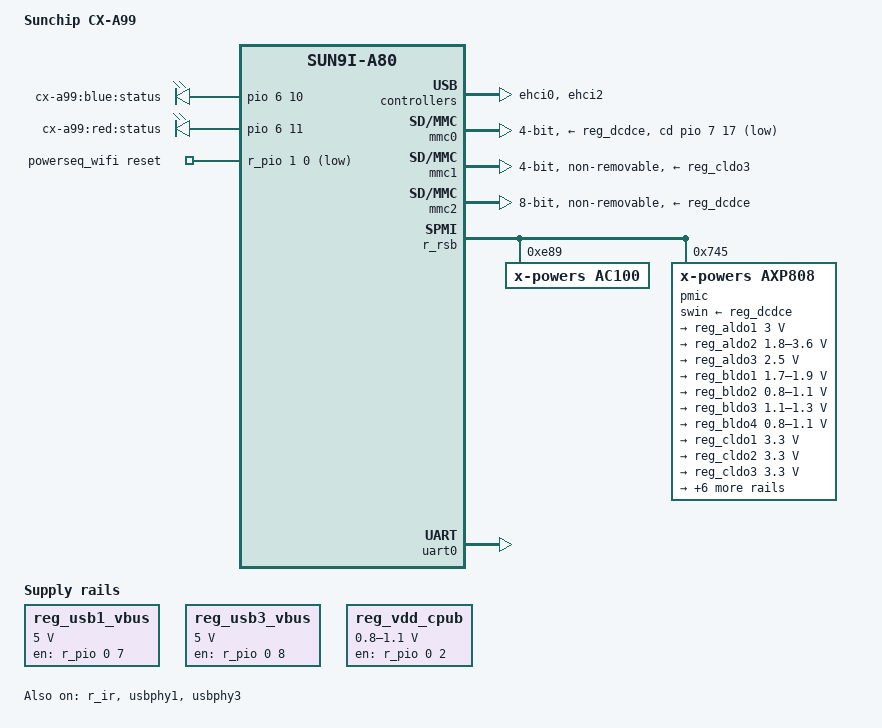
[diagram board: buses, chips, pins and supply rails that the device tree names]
/*
 * sun9i-a80-cx-a99.dts - Device Tree file for the Sunchip CX-A99 board.
 *
 * Copyright (C) 2017 Rask Ingemann Lambertsen <rask@formelder.dk>
 *
 * This file is dual-licensed: you can use it either under the terms
 * of the GPL or the X11 license, at your option. Note that this dual
 * licensing only applies to this file, and not this project as a
 * whole.
 *
 *  a) This file is free software; you can redistribute it and/or
 *     modify it under the terms of the GNU General Public License as
 *     published by the Free Software Foundation; either version 2 of the
 *     License, or (at your option) any later version.
 *
 *     This file is distributed in the hope that it will be useful,
 *     but WITHOUT ANY WARRANTY; without even the implied warranty of
 *     MERCHANTABILITY or FITNESS FOR A PARTICULAR PURPOSE.  See the
 *     GNU General Public License for more details.
 *
 * Or, alternatively,
 *
 *  b) Permission is hereby granted, free of charge, to any person
 *     obtaining a copy of this software and associated documentation
 *     files (the "Software"), to deal in the Software without
 *     restriction, including without limitation the rights to use,
 *     copy, modify, merge, publish, distribute, sublicense, and/or
 *     sell copies of the Software, and to permit persons to whom the
 *     Software is furnished to do so, subject to the following
 *     conditions:
 *
 *     The above copyright notice and this permission notice shall be
 *     included in all copies or substantial portions of the Software.
 *
 *     THE SOFTWARE IS PROVIDED "AS IS", WITHOUT WARRANTY OF ANY KIND,
 *     EXPRESS OR IMPLIED, INCLUDING BUT NOT LIMITED TO THE WARRANTIES
 *     OF MERCHANTABILITY, FITNESS FOR A PARTICULAR PURPOSE AND
 *     NONINFRINGEMENT. IN NO EVENT SHALL THE AUTHORS OR COPYRIGHT
 *     HOLDERS BE LIABLE FOR ANY CLAIM, DAMAGES OR OTHER LIABILITY,
 *     WHETHER IN AN ACTION OF CONTRACT, TORT OR OTHERWISE, ARISING
 *     FROM, OUT OF OR IN CONNECTION WITH THE SOFTWARE OR THE USE OR
 *     OTHER DEALINGS IN THE SOFTWARE.
 */

/*
 * The Sunchip CX-A99 board is found in several similar Android media
 * players, such as:
 *
 * Instabox Fantasy A8 (no external antenna)
 * Jesurun CS-Q8 (ships with larger remote control)
 * Jesurun Maxone
 * Rikomagic (RKM) MK80/MK80LE
 * Tronsmart Draco AW80 Meta/Telos
 *
 * See the Sunchip CX-A99 page on the Linux-sunxi wiki for more information.
 */

/dts-v1/;
#include "sun9i-a80.dtsi"

#include <dt-bindings/gpio/gpio.h>

/ {
	model = "Sunchip CX-A99";
	compatible = "sunchip,cx-a99", "allwinner,sun9i-a80";

	aliases {
		serial0 = &uart0;
	};

	chosen {
		stdout-path = "serial0:115200n8";
	};

	leds {
		compatible = "gpio-leds";

		blue {
			gpios = <&pio 6 10 GPIO_ACTIVE_HIGH>;	/* PG10 */
			label = "cx-a99:blue:status";
		};

		red {
			gpios = <&pio 6 11 GPIO_ACTIVE_HIGH>;	/* PG11 */
			label = "cx-a99:red:status";
		};
	};

	powerseq_wifi: powerseq-wifi {
		compatible = "mmc-pwrseq-simple";
		clocks = <&ac100_rtc 1>;
		clock-names = "ext_clock";
		reset-gpios = <&r_pio 1 0 GPIO_ACTIVE_LOW>;	/* PM0 */
		post-power-on-delay-ms = <1>;	/* Minimum 2 cycles. */
	};

	/* USB 2.0 connector closest to the 12 V power connector. */
	reg_usb1_vbus: regulator-usb1-vbus {
		compatible = "regulator-fixed";
		regulator-name = "usb1-vbus";
		regulator-min-microvolt = <5000000>;
		regulator-max-microvolt = <5000000>;
		gpio = <&r_pio 0 7 /* no flag support */ 0>;	/* PL7 */
		enable-active-high;
	};

	/* USB 2.0 connector next to the SD card slot. */
	reg_usb3_vbus: regulator-usb3-vbus {
		compatible = "regulator-fixed";
		regulator-name = "usb3-vbus";
		regulator-min-microvolt = <5000000>;
		regulator-max-microvolt = <5000000>;
		gpio = <&r_pio 0 8 /* no flag support */ 0>;	/* PL8 */
		enable-active-high;
	};

	/*
	 * OZ80120 voltage regulator for the four Cortex-A15 CPU cores.
	 * Although the regulator can output 750 - 1200 mV, the permissible
	 * range for the CPU cores is only 800 - 1100 mV.
	 */
	reg_vdd_cpub: regulator-vdd-cpub {
		compatible = "regulator-gpio";

		regulator-always-on;
		regulator-min-microvolt = < 800000>;
		regulator-max-microvolt = <1100000>;
		regulator-name = "vdd-cpub";

		/* Note: GPIO flags are not supported here . */
		enable-gpio = <&r_pio 0 2 /* flags n/a */ 0>;	/* PL2 */
		enable-active-high;
		gpios = <&r_pio 0 3 /* no flag support */ 0>,	/* PL3 */
			<&r_pio 0 4 /* no flag support */ 0>,	/* PL4 */
			<&r_pio 0 5 /* no flag support */ 0>;	/* PL5 */

		gpios-states = <1 0 0>;
		states = <	 750000 0x7
				 800000 0x3
				 850000 0x5
				 900000 0x1
				 950000 0x6
				1000000 0x2
				1100000 0x4
				1200000 0x0>;
	};
};

&ehci0 {
	status = "okay";
};

&ehci2 {
	status = "okay";
};

/*
 * SD card slot. Although the GPIO pin for card detection is listed as capable
 * of generating interrupts in the "A80 User Manual", this doesn't work for
 * some unknown reason, so poll the GPIO for card detection. This is also what
 * the vendor sys_config.fex file specifies.
 */
&mmc0 {
	bus-width = <4>;
	cd-gpios = <&pio 7 17 GPIO_ACTIVE_LOW>;	/* PH17 */
	broken-cd;				/* Poll. */
	pinctrl-names = "default";
	pinctrl-0 = <&mmc0_pins>;
	vmmc-supply = <&reg_dcdce>;
	status = "okay";
};

/* Ampak AP6335 IEEE 802.11 a/b/g/n/ac Wifi. */
&mmc1 {
	bus-width = <4>;
	non-removable;
	pinctrl-names = "default";
	pinctrl-0 = <&mmc1_pins>;
	vmmc-supply = <&reg_cldo3>;	/* See cldo2,cldo3 note. */
	vqmmc-supply = <&reg_aldo2>;
	mmc-pwrseq = <&powerseq_wifi>;
	status = "okay";
};

/* On-board eMMC card. */
&mmc2 {
	bus-width = <8>;
	non-removable;
	pinctrl-names = "default";
	pinctrl-0 = <&mmc2_8bit_pins>;
	vmmc-supply = <&reg_dcdce>;
	status = "okay";
};

&osc32k {
	clocks = <&ac100_rtc 0>;
};

&r_ir {
	status = "okay";
};

&r_rsb {
	status = "okay";

	ac100: codec@e89 {
		compatible = "x-powers,ac100";
		reg = <0xe89>;

		ac100_codec: codec {
			compatible = "x-powers,ac100-codec";
			interrupt-parent = <&r_pio>;
			interrupts = <0 9 IRQ_TYPE_LEVEL_LOW>;	/* PL9 */
			#clock-cells = <0>;
			clock-output-names = "4M_adda";
		};

		ac100_rtc: rtc {
			compatible = "x-powers,ac100-rtc";
			interrupt-parent = <&nmi_intc>;
			interrupts = <0 IRQ_TYPE_LEVEL_LOW>;
			clocks = <&ac100_codec>;
			#clock-cells = <1>;
			clock-output-names = "cko1_rtc",
					     "cko2_rtc",
					     "cko3_rtc";
		};
	};

	pmic@745 {
		compatible = "x-powers,axp808", "x-powers,axp806";
		x-powers,master-mode;
		reg = <0x745>;
		interrupt-parent = <&nmi_intc>;
		interrupts = <0 IRQ_TYPE_LEVEL_LOW>;
		interrupt-controller;
		#interrupt-cells = <1>;

		swin-supply = <&reg_dcdce>;

		regulators {
			reg_aldo1: aldo1 {
				regulator-boot-on;
				regulator-min-microvolt = <3000000>;
				regulator-max-microvolt = <3000000>;
				regulator-name = "vcc-3v0";
			};

			/* Supplies pin groups G and M. */
			reg_aldo2: aldo2 {
				regulator-boot-on;
				regulator-min-microvolt = <1800000>;
				regulator-max-microvolt = <3600000>;
				regulator-name = "vddio-wifi-codec";
			};

			reg_aldo3: aldo3 {
				regulator-boot-on;
				regulator-min-microvolt = <2500000>;
				regulator-max-microvolt = <2500000>;
				regulator-name = "vddio-gmac";
			};

			reg_bldo1: bldo1 {
				regulator-always-on;	/* Hang if disabled */
				regulator-min-microvolt = <1700000>;
				regulator-max-microvolt = <1900000>;
				regulator-name = "vdd18-dll-vcc18-pll";
			};

			reg_bldo2: bldo2 {
				regulator-always-on;	/* Hang if disabled */
				regulator-min-microvolt = < 800000>;
				regulator-max-microvolt = <1100000>;
				regulator-name = "vdd-cpus";
			};

			reg_bldo3: bldo3 {
				regulator-min-microvolt = <1100000>;
				regulator-max-microvolt = <1300000>;
				regulator-name = "vcc12-hsic";
			};

			reg_bldo4: bldo4 {
				regulator-boot-on;
				regulator-min-microvolt = < 800000>;
				regulator-max-microvolt = <1100000>;
				regulator-name = "vdd09-hdmi";
			};

			/* Supplies PLx pins which control some regulators. */
			reg_cldo1: cldo1 {
				regulator-always-on;
				regulator-min-microvolt = <3300000>;
				regulator-max-microvolt = <3300000>;
				regulator-name = "vcc-pl-led";
			};

			/*
			 * cldo2 and cldo3 are connected in parallel.
			 * There is currently no way to express that.
			 * For now, use regulator-always-on on cldo2 and lock
			 * the voltage on both to 3.3 V.
			 */
			reg_cldo2: cldo2 {
				regulator-always-on;
				regulator-min-microvolt = <3300000>;
				regulator-max-microvolt = <3300000>;
				regulator-name = "vbat2-wifi+bt";
			};

			reg_cldo3: cldo3 {
				regulator-min-microvolt = <3300000>;
				regulator-max-microvolt = <3300000>;
				regulator-name = "vbat1-wifi+bt";
			};

			reg_dcdca: dcdca {
				regulator-always-on;
				regulator-min-microvolt = < 800000>;
				regulator-max-microvolt = <1100000>;
				regulator-name = "vdd-cpua";
			};

			reg_dcdcb: dcdcb {
				regulator-always-on;
				regulator-min-microvolt = <1450000>;
				regulator-max-microvolt = <1550000>;
				regulator-name = "vcc-dram";
			};

			reg_dcdcc: dcdcc {
				regulator-min-microvolt = < 800000>;
				regulator-max-microvolt = <1100000>;
				regulator-name = "vdd-gpu";
			};

			reg_dcdcd: dcdcd {
				regulator-always-on;	/* Hang if disabled. */
				regulator-min-microvolt = < 800000>;
				regulator-max-microvolt = <1100000>;
				regulator-name = "vdd-sys";
			};

			/* Supplies pin groups B-F and H. */
			reg_dcdce: dcdce {
				regulator-always-on;
				regulator-min-microvolt = <3300000>;
				regulator-max-microvolt = <3300000>;
				regulator-name = "vcc-io-mmc-spdif";
			};

			reg_sw: sw {
				regulator-min-microvolt = <3300000>;
				regulator-max-microvolt = <3300000>;
				regulator-name = "vcc-gmac-codec";
			};
		};
	};
};

/*
 * 5-pin connector opposite of the SD card slot:
 * 1 = GND (pointed to by small triangle), 2 = GND, 3 = 3.3 V, 4 = RX, 5 = TX.
 */
&uart0 {
	pinctrl-names = "default";
	pinctrl-0 = <&uart0_ph_pins>;
	status = "okay";
};

&usbphy1 {
	phy-supply = <&reg_usb1_vbus>;
	status = "okay";
};

&usbphy3 {
	phy-supply = <&reg_usb3_vbus>;
	status = "okay";
};
